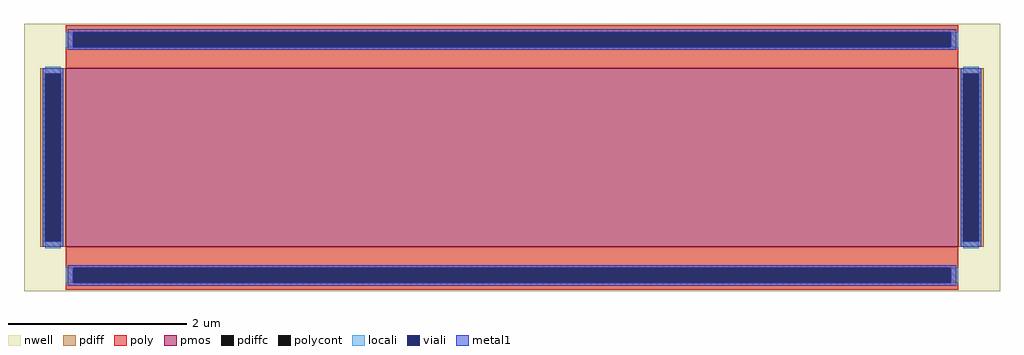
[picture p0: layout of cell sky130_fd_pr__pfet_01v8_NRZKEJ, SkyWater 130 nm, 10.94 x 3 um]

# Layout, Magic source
magic
tech sky130A
magscale 1 2
<< nwell >>
rect -1094 -300 1094 300
<< pmos >>
rect -1000 -200 1000 200
<< pdiff >>
rect -1058 188 -1000 200
rect -1058 -188 -1046 188
rect -1012 -188 -1000 188
rect -1058 -200 -1000 -188
rect 1000 188 1058 200
rect 1000 -188 1012 188
rect 1046 -188 1058 188
rect 1000 -200 1058 -188
<< pdiffc >>
rect -1046 -188 -1012 188
rect 1012 -188 1046 188
<< poly >>
rect -1000 281 1000 297
rect -1000 247 -984 281
rect 984 247 1000 281
rect -1000 200 1000 247
rect -1000 -247 1000 -200
rect -1000 -281 -984 -247
rect 984 -281 1000 -247
rect -1000 -297 1000 -281
<< polycont >>
rect -984 247 984 281
rect -984 -281 984 -247
<< locali >>
rect -1000 247 -984 281
rect 984 247 1000 281
rect -1046 188 -1012 204
rect -1046 -204 -1012 -188
rect 1012 188 1046 204
rect 1012 -204 1046 -188
rect -1000 -281 -984 -247
rect 984 -281 1000 -247
<< viali >>
rect -984 247 984 281
rect -1046 -188 -1012 188
rect 1012 -188 1046 188
rect -984 -281 984 -247
<< metal1 >>
rect -996 281 996 287
rect -996 247 -984 281
rect 984 247 996 281
rect -996 241 996 247
rect -1052 188 -1006 200
rect -1052 -188 -1046 188
rect -1012 -188 -1006 188
rect -1052 -200 -1006 -188
rect 1006 188 1052 200
rect 1006 -188 1012 188
rect 1046 -188 1052 188
rect 1006 -200 1052 -188
rect -996 -247 996 -241
rect -996 -281 -984 -247
rect 984 -281 996 -247
rect -996 -287 996 -281
<< properties >>
string gencell sky130_fd_pr__pfet_01v8
string library sky130
string parameters w 2 l 10 m 1 nf 1 diffcov 100 polycov 100 guard 0 glc 0 grc 0 gtc 0 gbc 0 tbcov 100 rlcov 100 topc 1 botc 1 poverlap 0 doverlap 1 lmin 0.15 wmin 0.42 compatible {sky130_fd_pr__pfet_01v8  sky130_fd_pr__pfet_01v8_lvt sky130_fd_pr__pfet_01v8_hvt  sky130_fd_pr__pfet_g5v0d10v5} full_metal 0 viasrc 100 viadrn 100 viagate 100 viagb 0 viagr 0 viagl 0 viagt 0
<< end >>
